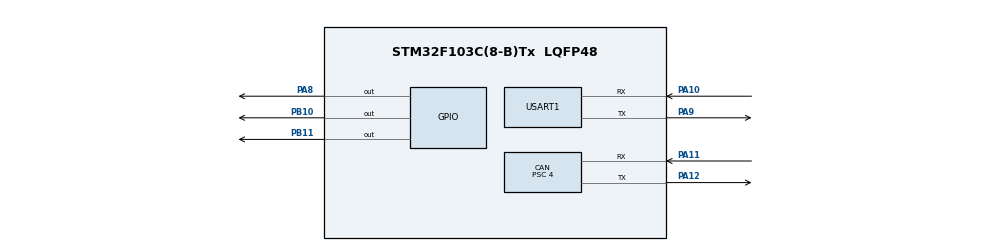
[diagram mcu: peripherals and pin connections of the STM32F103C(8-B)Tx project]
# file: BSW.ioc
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CAN.BS1=CAN_BS1_10TQ
CAN.BS2=CAN_BS2_5TQ
CAN.CalculateBaudRate=500000
CAN.CalculateTimeBit=2000
CAN.CalculateTimeQuantum=125.0
CAN.NART=ENABLE
CAN.Prescaler=4
CAN.SJW=CAN_SJW_2TQ
Mcu.Family=STM32F1
Mcu.Name=STM32F103C(8-B)Tx
Mcu.Package=LQFP48
NVIC.PriorityGroup=NVIC_PRIORITYGROUP_4
NVIC.TIM1_UP_IRQn=true\:0\:0\:false\:false\:true\:true\:true\:true
PA10.Mode=Asynchronous
PA10.Signal=USART1_RX
PA11.Mode=CAN_Activate
PA11.Signal=CAN_RX
PA12.Mode=CAN_Activate
PA12.Signal=CAN_TX
PA13.Mode=Serial_Wire
PA13.Signal=SYS_JTMS-SWDIO
PA14.Mode=Serial_Wire
PA14.Signal=SYS_JTCK-SWCLK
PA8.GPIO_PuPd=GPIO_PULLDOWN
PA8.Signal=GPIO_Output
PA9.Mode=Asynchronous
PA9.Signal=USART1_TX
PB10.GPIO_PuPd=GPIO_PULLUP
PB10.Signal=GPIO_Output
PB11.GPIO_PuPd=GPIO_PULLUP
PB11.GPIO_Speed=GPIO_SPEED_FREQ_LOW
PB11.PinState=GPIO_PIN_RESET
PB11.Signal=GPIO_Output
ProjectManager.HeapSize=0x200
ProjectManager.StackSize=0x400
ProjectManager.TargetToolchain=MDK-ARM V5.32
RCC.AHBFreq_Value=64000000
RCC.APB1CLKDivider=RCC_HCLK_DIV2
RCC.APB1Freq_Value=32000000
RCC.APB1TimFreq_Value=64000000
RCC.APB2Freq_Value=64000000
RCC.APB2TimFreq_Value=64000000
RCC.HCLKFreq_Value=64000000
RCC.PLLMUL=RCC_PLL_MUL16
RCC.SYSCLKFreq_VALUE=64000000
RCC.SYSCLKSource=RCC_SYSCLKSOURCE_PLLCLK
RCC.USBFreq_Value=64000000
TIM1.AutoReloadPreload=TIM_AUTORELOAD_PRELOAD_ENABLE
TIM1.ClockDivision=TIM_CLOCKDIVISION_DIV1
TIM1.Period=999
TIM1.Prescaler=63
TIM1.RepetitionCounter=0
TIM1.TIM_MasterOutputTrigger=TIM_TRGO_RESET
USART1.VirtualMode=VM_ASYNC
VP_TIM1_VS_ClockSourceINT.Mode=Internal
board=custom

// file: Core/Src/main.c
/* USER CODE BEGIN Header */
/**
  ******************************************************************************
  * @file           : main.c
  * @brief          : Main program body
  ******************************************************************************
  * @attention
  *
  * Copyright (c) 2024 STMicroelectronics.
  * All rights reserved.
  *
  * This software is licensed under terms that can be found in the LICENSE file
  * in the root directory of this software component.
  * If no LICENSE file comes with this software, it is provided AS-IS.
  *
  ******************************************************************************
  */
/* USER CODE END Header */
#include "main.h"
#include "can.h"
#include "tim.h"
#include "usart.h"
#include "gpio.h"

/* USER CODE BEGIN Includes */
#include "CanStack.h"
/* USER CODE END Includes */

void SystemClock_Config(void);

int main(void)
{

  /* MCU Configuration--------------------------------------------------------*/

  /* Reset of all peripherals, Initializes the Flash interface and the Systick. */
  HAL_Init();

  /* Configure the system clock */
  SystemClock_Config();

  /* Initialize all configured peripherals */
  MX_GPIO_Init();
  MX_USART1_UART_Init();
  MX_TIM1_Init();
  MX_CAN_Init();
  /* USER CODE BEGIN 2 */
  hcan.Instance = CAN1;

  CAN_FilterTypeDef  sFilterConfig;
  sFilterConfig.FilterBank = 0;
  sFilterConfig.FilterMode = CAN_FILTERMODE_IDMASK;
  sFilterConfig.FilterScale = CAN_FILTERSCALE_32BIT;
  sFilterConfig.FilterIdHigh = 0x0000;
  sFilterConfig.FilterIdLow = 0x0000;
  sFilterConfig.FilterMaskIdHigh = 0x0000;
  sFilterConfig.FilterMaskIdLow = 0x0000;
  sFilterConfig.FilterFIFOAssignment = CAN_RX_FIFO0;
  sFilterConfig.FilterActivation = ENABLE;
  sFilterConfig.SlaveStartFilterBank = 14;

  if (HAL_CAN_ConfigFilter(&hcan, &sFilterConfig) != HAL_OK)
  {
    /* Filter configuration Error */
    Error_Handler();
  }

  if (HAL_CAN_Start(&hcan) != HAL_OK)
  {
    /* Start Error */
    Error_Handler();
  }

  if (HAL_CAN_ActivateNotification(&hcan, CAN_IT_RX_FIFO0_MSG_PENDING) != HAL_OK)
  {
    /* Notification Error */
    Error_Handler();
  }

  CanStackInit();
  LL_TIM_EnableIT_UPDATE(TIM1);
  LL_TIM_EnableCounter(TIM1);
  /* USER CODE END 2 */
  /* Configure the CAN Filter */

  /* Infinite loop */
  while (1)
  {

  }
}

void SystemClock_Config(void)
{
  LL_FLASH_SetLatency(LL_FLASH_LATENCY_2);
  while(LL_FLASH_GetLatency()!= LL_FLASH_LATENCY_2)
  {
  }
  LL_RCC_HSI_SetCalibTrimming(16);
  LL_RCC_HSI_Enable();

   /* Wait till HSI is ready */
  while(LL_RCC_HSI_IsReady() != 1)
  {

  }
  LL_RCC_PLL_ConfigDomain_SYS(LL_RCC_PLLSOURCE_HSI_DIV_2, LL_RCC_PLL_MUL_16);
  LL_RCC_PLL_Enable();

   /* Wait till PLL is ready */
  while(LL_RCC_PLL_IsReady() != 1)
  {

  }
  LL_RCC_SetAHBPrescaler(LL_RCC_SYSCLK_DIV_1);
  LL_RCC_SetAPB1Prescaler(LL_RCC_APB1_DIV_2);
  LL_RCC_SetAPB2Prescaler(LL_RCC_APB2_DIV_1);
  LL_RCC_SetSysClkSource(LL_RCC_SYS_CLKSOURCE_PLL);

   /* Wait till System clock is ready */
  while(LL_RCC_GetSysClkSource() != LL_RCC_SYS_CLKSOURCE_STATUS_PLL)
  {

  }
  LL_SetSystemCoreClock(64000000);

   /* Update the time base */
  if (HAL_InitTick (TICK_INT_PRIORITY) != HAL_OK)
  {
    Error_Handler();
  }
}

void Error_Handler(void)
{
  __disable_irq();
  while (1)
  {
  }
}
